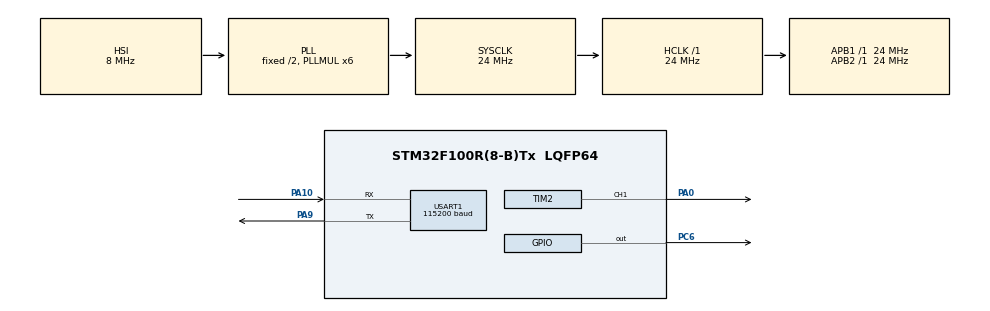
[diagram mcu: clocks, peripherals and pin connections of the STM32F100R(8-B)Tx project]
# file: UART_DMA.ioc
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Dma.Request0=USART1_RX
Dma.USART1_RX.0.Direction=DMA_PERIPH_TO_MEMORY
Dma.USART1_RX.0.Instance=DMA1_Channel5
Dma.USART1_RX.0.MemDataAlignment=DMA_MDATAALIGN_BYTE
Dma.USART1_RX.0.MemInc=DMA_MINC_ENABLE
Dma.USART1_RX.0.Mode=DMA_NORMAL
Dma.USART1_RX.0.PeriphDataAlignment=DMA_PDATAALIGN_BYTE
Dma.USART1_RX.0.PeriphInc=DMA_PINC_DISABLE
Dma.USART1_RX.0.Priority=DMA_PRIORITY_LOW
Mcu.Family=STM32F1
Mcu.Name=STM32F100R(8-B)Tx
Mcu.Package=LQFP64
NVIC.DMA1_Channel5_IRQn=true\:0\:0\:false\:false\:true\:false\:true
NVIC.PriorityGroup=NVIC_PRIORITYGROUP_4
NVIC.USART1_IRQn=true\:0\:0\:false\:false\:true\:true\:true
PA0-WKUP.Signal=S_TIM2_CH1_ETR
PA10.Mode=Asynchronous
PA10.Signal=USART1_RX
PA13.Mode=Serial_Wire
PA13.Signal=SYS_JTMS-SWDIO
PA14.Mode=Serial_Wire
PA14.Signal=SYS_JTCK-SWCLK
PA9.Mode=Asynchronous
PA9.Signal=USART1_TX
PC6.GPIO_Speed=GPIO_SPEED_FREQ_MEDIUM
PC6.Signal=GPIO_Output
PD0-OSC_IN.Mode=HSE-External-Oscillator
PD0-OSC_IN.Signal=RCC_OSC_IN
PD1-OSC_OUT.Mode=HSE-External-Oscillator
PD1-OSC_OUT.Signal=RCC_OSC_OUT
ProjectManager.HeapSize=0x200
ProjectManager.StackSize=0x400
ProjectManager.TargetToolchain=MDK-ARM V5.27
RCC.AHBFreq_Value=24000000
RCC.APB1Freq_Value=24000000
RCC.APB1TimFreq_Value=24000000
RCC.APB2Freq_Value=24000000
RCC.APB2TimFreq_Value=24000000
RCC.HCLKFreq_Value=24000000
RCC.PLLMUL=RCC_PLL_MUL6
RCC.SYSCLKFreq_VALUE=24000000
RCC.SYSCLKSource=RCC_SYSCLKSOURCE_PLLCLK
SH.S_TIM2_CH1_ETR.0=TIM2_CH1,PWM Generation1 CH1
TIM2.Channel-PWM\ Generation1\ CH1=TIM_CHANNEL_1
TIM2.Period=23999
TIM2.Pulse-PWM\ Generation1\ CH1=12000
USART1.BaudRate=115200
USART1.VirtualMode=VM_ASYNC
VP_TIM2_VS_ClockSourceINT.Mode=Internal
board=custom

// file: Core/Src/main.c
/* USER CODE BEGIN Header */
/**
  ******************************************************************************
  * @file           : main.c
  * @brief          : Main program body
  ******************************************************************************
  * @attention
  *
  * <h2><center>&copy; Copyright (c) 2021 STMicroelectronics.
  * All rights reserved.</center></h2>
  *
  * This software component is licensed by ST under BSD 3-Clause license,
  * the "License"; You may not use this file except in compliance with the
  * License. You may obtain a copy of the License at:
  *                        opensource.org/licenses/BSD-3-Clause
  *
  ******************************************************************************
  */
/* USER CODE END Header */
#include "main.h"

/* USER CODE BEGIN PM */
	#include "stdio.h"
	#include "string.h"
	#include <stdbool.h>
/* USER CODE END PM */

TIM_HandleTypeDef htim2;

UART_HandleTypeDef huart1;
DMA_HandleTypeDef hdma_usart1_rx;

/* USER CODE BEGIN PV */
	#define RxBuf_SIZE 10
	#define MainBuf_SIZE 20

	char RxBuf[RxBuf_SIZE];
	uint8_t MainBuf[MainBuf_SIZE],buf_size,arr_buffer[2];
	int d,x,arrFreq,z;
	double dt,ft,percent,RxData;
/* USER CODE END PV */

void SystemClock_Config(void);
static void MX_GPIO_Init(void);
static void MX_DMA_Init(void);
static void MX_USART1_UART_Init(void);
static void MX_TIM2_Init(void);

/* USER CODE BEGIN 0 */
  void HAL_UARTEx_RxEventCallback(UART_HandleTypeDef *huart, uint16_t Size) //Uart dma kesmesi ve bufferların sıfırlanması işlemi.
{
		if(huart->Instance==USART1){
				memcpy(MainBuf,RxBuf,Size);
				HAL_UARTEx_ReceiveToIdle_DMA(&huart1,(uint8_t *)RxBuf,RxBuf_SIZE);
			__HAL_DMA_DISABLE_IT(&hdma_usart1_rx,DMA_IT_HT);
			buf_size=Size-1;
		}
}

/* USER CODE END 0 */

int main(void)
{

  /* MCU Configuration--------------------------------------------------------*/

  /* Reset of all peripherals, Initializes the Flash interface and the Systick. */
  HAL_Init();

  /* Configure the system clock */
  SystemClock_Config();

  /* Initialize all configured peripherals */
  MX_GPIO_Init();
  MX_DMA_Init();
  MX_USART1_UART_Init();
  MX_TIM2_Init();
  /* USER CODE BEGIN 2 */
		HAL_UARTEx_ReceiveToIdle_DMA(&huart1,(uint8_t *)RxBuf,RxBuf_SIZE);
		__HAL_DMA_DISABLE_IT(&hdma_usart1_rx,DMA_IT_HT);
		HAL_TIM_PWM_Start(&htim2,TIM_CHANNEL_1);
		arrFreq=23999;
  /* USER CODE END 2 */

  /* Infinite loop */
  while (1)
  {

    /* USER CODE BEGIN 3 */

			sscanf(RxBuf,"%lf",&RxData); //Gelen datayı floata çevirme işlemi
		if(RxBuf[buf_size]=='d'){        //Gelen data duty cycle ise işleme sokma
	    	TIM2->CCR1=(arrFreq*RxData/100);
			  RxBuf[buf_size]=0x00;     //Buffer sıfırlama
		}
		else if(RxBuf[buf_size]=='s'){  //Gelen data second ise işleme sokma
				 dt=RxData*0.000001;    //Microsaniyeden saniyeye çevrim
				 percent=(dt/ft)*100;
				 TIM2->CCR1=(arrFreq*percent/100);
			   RxBuf[buf_size]=0x00;    //Buffer sıfırlama

		}
	  else if(RxBuf[buf_size]=='f'){    //Gelen data frekans ise işleme sokma
			ft=(1/(RxData));
		  arrFreq=(24000000/RxData)-1;
			TIM2->ARR=arrFreq;
			RxBuf[buf_size]=0x00;        //Buffer sıfırlama
			}

  }

  /* USER CODE END 3 */
}

void SystemClock_Config(void)
{
  RCC_OscInitTypeDef RCC_OscInitStruct = {0};
  RCC_ClkInitTypeDef RCC_ClkInitStruct = {0};

  /** Initializes the RCC Oscillators according to the specified parameters
  * in the RCC_OscInitTypeDef structure.
  */
  RCC_OscInitStruct.OscillatorType = RCC_OSCILLATORTYPE_HSI;
  RCC_OscInitStruct.HSIState = RCC_HSI_ON;
  RCC_OscInitStruct.HSICalibrationValue = RCC_HSICALIBRATION_DEFAULT;
  RCC_OscInitStruct.PLL.PLLState = RCC_PLL_ON;
  RCC_OscInitStruct.PLL.PLLSource = RCC_PLLSOURCE_HSI_DIV2;
  RCC_OscInitStruct.PLL.PLLMUL = RCC_PLL_MUL6;
  if (HAL_RCC_OscConfig(&RCC_OscInitStruct) != HAL_OK)
  {
    Error_Handler();
  }
  /** Initializes the CPU, AHB and APB buses clocks
  */
  RCC_ClkInitStruct.ClockType = RCC_CLOCKTYPE_HCLK|RCC_CLOCKTYPE_SYSCLK
                              |RCC_CLOCKTYPE_PCLK1|RCC_CLOCKTYPE_PCLK2;
  RCC_ClkInitStruct.SYSCLKSource = RCC_SYSCLKSOURCE_PLLCLK;
  RCC_ClkInitStruct.AHBCLKDivider = RCC_SYSCLK_DIV1;
  RCC_ClkInitStruct.APB1CLKDivider = RCC_HCLK_DIV1;
  RCC_ClkInitStruct.APB2CLKDivider = RCC_HCLK_DIV1;

  if (HAL_RCC_ClockConfig(&RCC_ClkInitStruct, FLASH_LATENCY_0) != HAL_OK)
  {
    Error_Handler();
  }
}

static void MX_TIM2_Init(void)
{

  TIM_ClockConfigTypeDef sClockSourceConfig = {0};
  TIM_MasterConfigTypeDef sMasterConfig = {0};
  TIM_OC_InitTypeDef sConfigOC = {0};

  htim2.Instance = TIM2;
  htim2.Init.Prescaler = 0;
  htim2.Init.CounterMode = TIM_COUNTERMODE_UP;
  htim2.Init.Period = 23999;
  htim2.Init.ClockDivision = TIM_CLOCKDIVISION_DIV1;
  htim2.Init.AutoReloadPreload = TIM_AUTORELOAD_PRELOAD_DISABLE;
  if (HAL_TIM_Base_Init(&htim2) != HAL_OK)
  {
    Error_Handler();
  }
  sClockSourceConfig.ClockSource = TIM_CLOCKSOURCE_INTERNAL;
  if (HAL_TIM_ConfigClockSource(&htim2, &sClockSourceConfig) != HAL_OK)
  {
    Error_Handler();
  }
  if (HAL_TIM_PWM_Init(&htim2) != HAL_OK)
  {
    Error_Handler();
  }
  sMasterConfig.MasterOutputTrigger = TIM_TRGO_RESET;
  sMasterConfig.MasterSlaveMode = TIM_MASTERSLAVEMODE_DISABLE;
  if (HAL_TIMEx_MasterConfigSynchronization(&htim2, &sMasterConfig) != HAL_OK)
  {
    Error_Handler();
  }
  sConfigOC.OCMode = TIM_OCMODE_PWM1;
  sConfigOC.Pulse = 12000;
  sConfigOC.OCPolarity = TIM_OCPOLARITY_HIGH;
  sConfigOC.OCFastMode = TIM_OCFAST_DISABLE;
  if (HAL_TIM_PWM_ConfigChannel(&htim2, &sConfigOC, TIM_CHANNEL_1) != HAL_OK)
  {
    Error_Handler();
  }
  HAL_TIM_MspPostInit(&htim2);

}

static void MX_USART1_UART_Init(void)
{

  huart1.Instance = USART1;
  huart1.Init.BaudRate = 115200;
  huart1.Init.WordLength = UART_WORDLENGTH_8B;
  huart1.Init.StopBits = UART_STOPBITS_1;
  huart1.Init.Parity = UART_PARITY_NONE;
  huart1.Init.Mode = UART_MODE_TX_RX;
  huart1.Init.HwFlowCtl = UART_HWCONTROL_NONE;
  huart1.Init.OverSampling = UART_OVERSAMPLING_16;
  if (HAL_UART_Init(&huart1) != HAL_OK)
  {
    Error_Handler();
  }

}

static void MX_DMA_Init(void)
{

  /* DMA controller clock enable */
  __HAL_RCC_DMA1_CLK_ENABLE();

  /* DMA interrupt init */
  /* DMA1_Channel5_IRQn interrupt configuration */
  HAL_NVIC_SetPriority(DMA1_Channel5_IRQn, 0, 0);
  HAL_NVIC_EnableIRQ(DMA1_Channel5_IRQn);

}

static void MX_GPIO_Init(void)
{
  GPIO_InitTypeDef GPIO_InitStruct = {0};

  /* GPIO Ports Clock Enable */
  __HAL_RCC_GPIOD_CLK_ENABLE();
  __HAL_RCC_GPIOA_CLK_ENABLE();
  __HAL_RCC_GPIOC_CLK_ENABLE();

  /*Configure GPIO pin Output Level */
  HAL_GPIO_WritePin(GPIOC, GPIO_PIN_6, GPIO_PIN_RESET);

  /*Configure GPIO pin : PC6 */
  GPIO_InitStruct.Pin = GPIO_PIN_6;
  GPIO_InitStruct.Mode = GPIO_MODE_OUTPUT_PP;
  GPIO_InitStruct.Pull = GPIO_NOPULL;
  GPIO_InitStruct.Speed = GPIO_SPEED_FREQ_MEDIUM;
  HAL_GPIO_Init(GPIOC, &GPIO_InitStruct);

}

void Error_Handler(void)
{
  __disable_irq();
  while (1)
  {
  }
}

/************************ (C) COPYRIGHT STMicroelectronics *****END OF FILE****/
